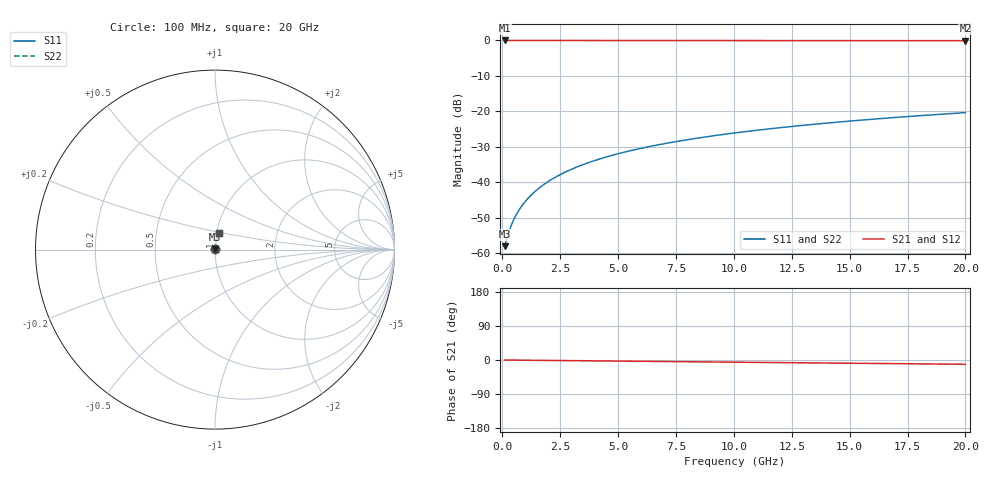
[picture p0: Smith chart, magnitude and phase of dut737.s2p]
! Touchstone file exported from HFSS 2026.1.0
!  File:  C:/ffzhzh/LocalFiles/Ansys_Project_Files/temp_train_BSMRDL_737_1783168631_51560.aedt
!  Generated:  08:38:21 PM Jul  4, 2026
!  Design:  BSMRDL
!  Project:  temp_train_BSMRDL_737_1783168631_51560
! Variables:
!  h_bsmrdl = 3.32um
!  h_ox = 20um
!  h_rdl = 5um
!  h_sub = 80um
!  h_tmrdl = 5um
!  h_tsv = 80um
!  h_via = 3um
!  l_bsmrdl = 153.5um
!  l_sub = 553.5um
!  l_tmrdl = 200um
!  m_sub = 200um
!  pitch = 33.09um
!  r_tsv = 6um
!  s_tmrdl = 10um
!  w_bsmrdl = 18.61um
!  w_sub = 500um
!  w_tmrdl = 12um
!  x_tsv_center1 = 206um
!  x_tsv_center2 = 378.11um
!  x_tsv_center3 = 590.11um
!  x_tsv_center4 = 762.22um
!  x_tsv_center5 = 974.22um
!  x_tsv_center6 = 1146.33um
# GHz S MA R 50.000000
! Terminal data exported
! Port[1] = BSM_RDL1_1_T1
! Port[2] = BSM_RDL1_1_T2
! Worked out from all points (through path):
!   200 points, 100 MHz to 20 GHz, reference 50 ohm
!   highest |S21| = -0.01 dB at 100 MHz (marker M1); lowest = -0.1 dB at 20 GHz (marker M2)
!   group delay of S21, straight-line fit = 1.57 ps
!   lowest |S11| = -58.1 dB at 100 MHz (marker M3), VSWR 1.00, Z = 50.1 + j0.058 ohm
!   |S11| at or under -10 dB: start of sweep to end of sweep
!   |S22| runs from -58.1 to -20.4 dB; largest |S21 - S12| = 4e-15
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0.1  0.001249 27.6  0.9989 -0.1  0.9989 -0.1  0.001249 27.6
! Gamma 0 0 0 0
! Port Impedance 50 0 50 0
0.3  0.002062 54.2  0.9988 -0.2  0.9988 -0.2  0.002062 54.2
0.4  0.002523 60.2  0.9988 -0.2  0.9988 -0.2  0.002523 60.2
0.5  0.00299 64.2  0.9987 -0.3  0.9987 -0.3  0.00299 64.2
0.6  0.00346 67.2  0.9987 -0.4  0.9987 -0.4  0.00346 67.2
0.8  0.00441 71.5  0.9986 -0.5  0.9986 -0.5  0.00441 71.5
1  0.005372 74.3  0.9986 -0.6  0.9986 -0.6  0.005372 74.3
1.2  0.006345 76.3  0.9986 -0.7  0.9986 -0.7  0.006345 76.3
1.4  0.007325 77.8  0.9985 -0.8  0.9985 -0.8  0.007325 77.8
1.7  0.008806 79.3  0.9985 -1.0  0.9985 -1.0  0.008806 79.3
2.2  0.01129 80.9  0.9984 -1.3  0.9984 -1.3  0.01129 80.9
2.8  0.01427 81.9  0.9983 -1.6  0.9983 -1.6  0.01427 81.9
3.5  0.01775 82.4  0.9981 -2.0  0.9981 -2.0  0.01775 82.4
4.2  0.02122 82.6  0.9979 -2.4  0.9979 -2.4  0.02122 82.6
5  0.02517 82.6  0.9977 -2.9  0.9977 -2.9  0.02517 82.6
5.9  0.02958 82.4  0.9974 -3.4  0.9974 -3.4  0.02958 82.4
6.8  0.03396 82.1  0.9971 -3.9  0.9971 -3.9  0.03396 82.1
8.3  0.04119 81.6  0.9965 -4.8  0.9965 -4.8  0.04119 81.6
10.1  0.04978 80.8  0.9958 -5.8  0.9958 -5.8  0.04978 80.8
13.4  0.0653 79.2  0.9943 -7.6  0.9943 -7.6  0.0653 79.2
16.7  0.08059 77.6  0.9927 -9.5  0.9927 -9.5  0.08059 77.6
20  0.09569 76.0  0.9909 -11.3  0.9909 -11.3  0.09569 76.0
